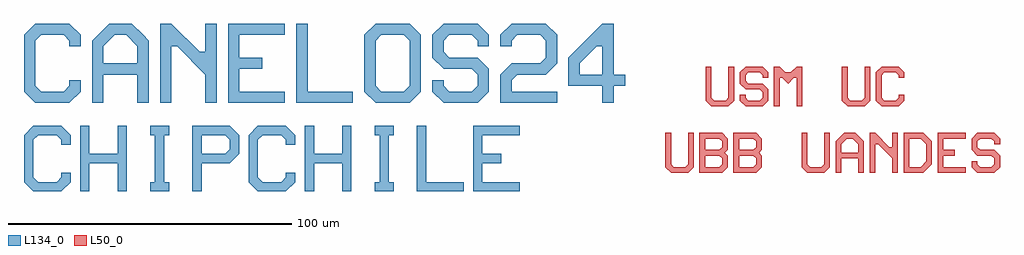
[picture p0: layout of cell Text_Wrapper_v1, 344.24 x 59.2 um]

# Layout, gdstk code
import gdstk
lib = gdstk.Library(unit=1e-6, precision=1e-09)
def P(c, l, *ps):  # polygons
    for p in ps: c.add(gdstk.Polygon(p, *l))
L50_0 = (50, 0)
L134_0 = (134, 0)

text_1 = lib.new_cell('TEXT$1')
P(text_1, L134_0, [(4,0),(0,4),(0,24),(4,28),(16,28),(20,24),(20,20),(16,20),(16,22),(14,24),(6,24),(4,22),(4,6),(6,4),(14,4),(16,6),(16,8),(20,8),(20,4),(16,0)],
  [(24,0),(24,22),(30,28),(38,28),(42,24),(32,24),(28,20),(28,14),(40,14),(40,20),(36,24),(42,24),(44,22),(44,0),(40,0),(40,10),(28,10),(28,0)],
  [(48,0),(48,28),(52,28),(62,18),(64,18),(64,28),(68,28),(68,0),(64,0),(64,10),(54,20),(52,20),(52,0)],
  [(72,0),(72,28),(92,28),(92,24),(76,24),(76,16),(84,16),(84,12),(76,12),(76,4),(92,4),(92,0)],
  [(96,0),(96,28),(100,28),(100,4),(116,4),(116,0)],
  [(124,0),(120,4),(120,24),(124,28),(136,28),(140,24),(140,14),(136,14),(136,22),(134,24),(126,24),(124,22),(124,6),(126,4),(134,4),(136,6),(136,14),(140,14),(140,4),(136,0)],
  [(148,0),(144,4),(144,8),(148,8),(148,6),(150,4),(158,4),(160,6),(160,10),(158,12),(148,12),(144,16),(144,24),(148,28),(160,28),(164,24),(164,20),(160,20),(160,22),(158,24),(150,24),(148,22),(148,18),(150,16),(160,16),(164,12),(164,4),(160,0)],
  [(168,0),(168,10),(172,14),(182,14),(184,16),(184,22),(182,24),(174,24),(172,22),(172,20),(168,20),(168,24),(172,28),(184,28),(188,24),(188,14),(184,10),(174,10),(172,8),(172,4),(188,4),(188,0)],
  [(204,0),(204,6),(192,6),(192,10),(204,10),(204,20),(202,20),(196,14),(196,10),(192,10),(192,16),(204,28),(208,28),(208,10),(212,10),(212,6),(208,6),(208,0)])

text_2 = lib.new_cell('TEXT$2')
P(text_2, L134_0, [(3.3,0),(0,3.3),(0,19.8),(3.3,23.1),(13.2,23.1),(16.5,19.8),(16.5,16.5),(13.2,16.5),(13.2,18.15),(11.55,19.8),(4.95,19.8),(3.3,18.15),(3.3,4.95),(4.95,3.3),(11.55,3.3),(13.2,4.95),(13.2,6.6),(16.5,6.6),(16.5,3.3),(13.2,0)],
  [(19.8,0),(19.8,23.1),(23.1,23.1),(23.1,13.2),(33,13.2),(33,23.1),(36.3,23.1),(36.3,0),(33,0),(33,9.9),(23.1,9.9),(23.1,0)],
  [(44.55,0),(44.55,3.3),(46.2,3.3),(46.2,19.8),(44.55,19.8),(44.55,23.1),(51.15,23.1),(51.15,19.8),(49.5,19.8),(49.5,3.3),(51.15,3.3),(51.15,0)],
  [(59.4,0),(59.4,23.1),(72.6,23.1),(75.9,19.8),(75.9,13.2),(72.6,9.9),(62.7,9.9),(62.7,13.2),(70.95,13.2),(72.6,14.85),(72.6,18.15),(70.95,19.8),(62.7,19.8),(62.7,0)],
  [(82.5,0),(79.2,3.3),(79.2,19.8),(82.5,23.1),(92.4,23.1),(95.7,19.8),(95.7,16.5),(92.4,16.5),(92.4,18.15),(90.75,19.8),(84.15,19.8),(82.5,18.15),(82.5,4.95),(84.15,3.3),(90.75,3.3),(92.4,4.95),(92.4,6.6),(95.7,6.6),(95.7,3.3),(92.4,0)],
  [(99,0),(99,23.1),(102.3,23.1),(102.3,13.2),(112.2,13.2),(112.2,23.1),(115.5,23.1),(115.5,0),(112.2,0),(112.2,9.9),(102.3,9.9),(102.3,0)],
  [(123.75,0),(123.75,3.3),(125.4,3.3),(125.4,19.8),(123.75,19.8),(123.75,23.1),(130.35,23.1),(130.35,19.8),(128.7,19.8),(128.7,3.3),(130.35,3.3),(130.35,0)],
  [(138.6,0),(138.6,23.1),(141.9,23.1),(141.9,3.3),(155.1,3.3),(155.1,0)],
  [(158.4,0),(158.4,23.1),(174.9,23.1),(174.9,19.8),(161.7,19.8),(161.7,13.2),(168.3,13.2),(168.3,9.9),(161.7,9.9),(161.7,3.3),(174.9,3.3),(174.9,0)])

text_4 = lib.new_cell('TEXT$4')
P(text_4, L50_0, [(2,0),(0,2),(0,14),(2,14),(2,3),(3,2),(7,2),(8,3),(8,14),(10,14),(10,2),(8,0)],
  [(14,0),(12,2),(12,4),(14,4),(14,3),(15,2),(19,2),(20,3),(20,5),(19,6),(14,6),(12,8),(12,12),(14,14),(20,14),(22,12),(22,10),(20,10),(20,11),(19,12),(15,12),(14,11),(14,9),(15,8),(20,8),(22,6),(22,2),(20,0)],
  [(24,0),(24,14),(26,14),(28,12),(30,12),(32,14),(34,14),(34,0),(32,0),(32,10),(31,10),(29,8),(27,10),(26,10),(26,0)],
  [(50,0),(48,2),(48,14),(50,14),(50,3),(51,2),(55,2),(56,3),(56,14),(58,14),(58,2),(56,0)],
  [(62,0),(60,2),(60,12),(62,14),(68,14),(70,12),(70,10),(68,10),(68,11),(67,12),(63,12),(62,11),(62,3),(63,2),(67,2),(68,3),(68,4),(70,4),(70,2),(68,0)])

text = lib.new_cell('TEXT')
P(text, L50_0, [(2,0),(0,2),(0,14),(2,14),(2,3),(3,2),(7,2),(8,3),(8,14),(10,14),(10,2),(8,0)],
  [(12,0),(12,14),(20,14),(22,12),(14,12),(14,8),(19,8),(20,9),(20,11),(19,12),(22,12),(22,8),(21,7),(22,6),(14,6),(14,2),(19,2),(20,3),(20,5),(19,6),(22,6),(22,2),(20,0)],
  [(24,0),(24,14),(32,14),(34,12),(26,12),(26,8),(31,8),(32,9),(32,11),(31,12),(34,12),(34,8),(33,7),(34,6),(26,6),(26,2),(31,2),(32,3),(32,5),(31,6),(34,6),(34,2),(32,0)],
  [(50,0),(48,2),(48,14),(50,14),(50,3),(51,2),(55,2),(56,3),(56,14),(58,14),(58,2),(56,0)],
  [(60,0),(60,11),(63,14),(67,14),(69,12),(64,12),(62,10),(62,7),(68,7),(68,10),(66,12),(69,12),(70,11),(70,0),(68,0),(68,5),(62,5),(62,0)],
  [(72,0),(72,14),(74,14),(79,9),(80,9),(80,14),(82,14),(82,0),(80,0),(80,5),(75,10),(74,10),(74,0)],
  [(84,0),(84,14),(91,14),(93,12),(86,12),(86,2),(90,2),(92,4),(92,10),(90,12),(93,12),(94,11),(94,3),(91,0)],
  [(96,0),(96,14),(106,14),(106,12),(98,12),(98,8),(102,8),(102,6),(98,6),(98,2),(106,2),(106,0)],
  [(110,0),(108,2),(108,4),(110,4),(110,3),(111,2),(115,2),(116,3),(116,5),(115,6),(110,6),(108,8),(108,12),(110,14),(116,14),(118,12),(118,10),(116,10),(116,11),(115,12),(111,12),(110,11),(110,9),(111,8),(116,8),(118,6),(118,2),(116,0)])

text_wrapper_v1 = lib.new_cell('Text_Wrapper_v1')
text_wrapper_v1.add(gdstk.Reference(text_1, (700,851.835)))
text_wrapper_v1.add(gdstk.Reference(text_2, (700,820.64)))
text_wrapper_v1.add(gdstk.Reference(text_4, (940.475,850.67)))
text_wrapper_v1.add(gdstk.Reference(text, (926.235,827.25)))

lib.write_gds('Text_Wrapper_v1.gds')
